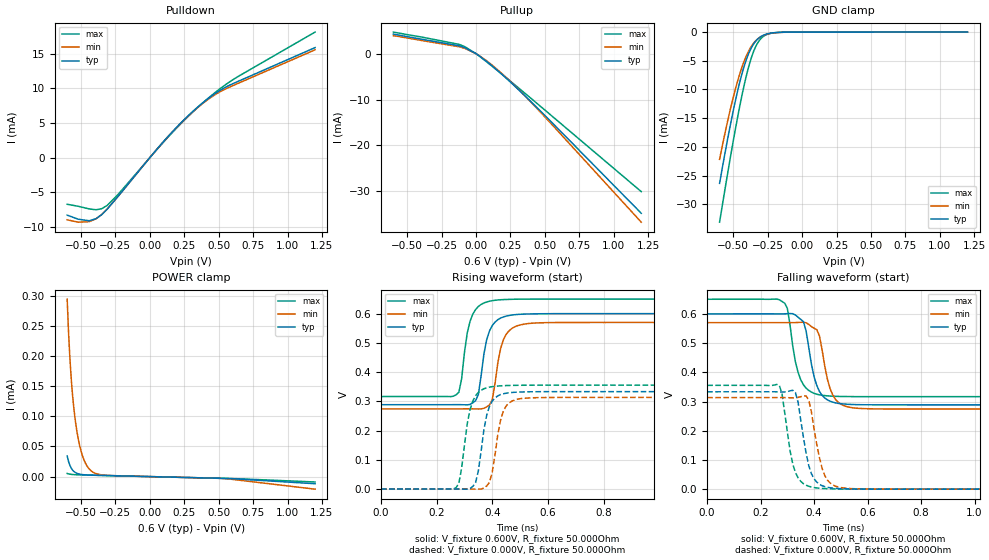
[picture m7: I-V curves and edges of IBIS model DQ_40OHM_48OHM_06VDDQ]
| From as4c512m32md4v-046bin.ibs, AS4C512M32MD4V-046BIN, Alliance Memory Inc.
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|   MODEL: DQ_40OHM_48OHM_06VDDQ
[Model]   DQ_40OHM_48OHM_06VDDQ
Model_type   I/O
Polarity   Non-Inverting
Enable   Active-High
Vinl   = 0.080V
Vinh   = 0.220V
Vmeas   = 0.150V
Vref   = 0.150V
Cref   = 0.000pF
Rref   = 50.000Ohm
|   typ   min   max
C_comp   0.875pF   0.788pF   0.963pF
[Voltage Range]   0.600V   0.570V   0.650V
[Temperature Range]   25.0   95.0   -40.0
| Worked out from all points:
|   slope of the pulldown table from 0 to 0.09 V, typ, clamps not added: 42.7 ohm
|   slope of the pullup table from 0 to 0.09 V, typ, clamps not added: 44.8 ohm
|   GND clamp passes 1 mA (typ) near -0.31 V on its own axis
|   rising waveform, V_fixture 0.600V, R_fixture 50.000Ohm: 20-80 % time 34.7ps typ, 35.2ps min, 33.4ps max; typ from 0.288 V to 0.6 V
|   falling waveform, V_fixture 0.600V, R_fixture 50.000Ohm: 20-80 % time 41.2ps typ, 41.8ps min, 40.4ps max; typ from 0.6 V to 0.289 V
|   rising waveform, V_fixture 0.000V, R_fixture 50.000Ohm: 20-80 % time 33.8ps typ, 33.9ps min, 34.6ps max; typ from 0 V to 0.333 V
|   falling waveform, V_fixture 0.000V, R_fixture 50.000Ohm: 20-80 % time 39.9ps typ, 41.1ps min, 38.7ps max; typ from 0.333 V to 0 V
[Pulldown]
|   Voltage   I(typ)   I(min)   I(max)
-600mV    -8.28mA    -8.954mA   -6.714mA
-520mV    -8.867mA   -9.297mA   -7.003mA
-440mV    -9.092mA   -9.223mA   -7.384mA
-390mV    -8.791mA   -8.797mA   -7.506mA
-350mV    -8.222mA   -8.197mA   -7.36mA
-310mV    -7.428mA   -7.411mA   -6.891mA
-230mV    -5.563mA   -5.563mA   -5.289mA
130mV     2.999mA    2.984mA    2.912mA
270mV     5.881mA    5.837mA    5.784mA
400mV     8.157mA    8.058mA    8.169mA
580mV     10.46mA    10.19mA    10.93mA
1.2V      15.87mA    15.55mA    18.11mA
[Pullup]
|   Voltage   I(typ)   I(min)   I(max)
-600mV    4.267mA    3.904mA    4.699mA
-120mV    1.7mA      1.495mA    2.011mA
-80mV     1.289mA    1.134mA    1.496mA
0V        0A         0A         0A
80mV      -1.767mA   -1.632mA   -1.852mA
220mV     -5.374mA   -5.228mA   -5.255mA
410mV     -10.79mA   -10.91mA   -10.01mA
1.2V      -34.79mA   -36.73mA   -30.07mA
[GND Clamp]
|   Voltage   I(typ)   I(min)   I(max)
-600mV    -26.36mA   -22.19mA   -33.14mA
-550mV    -19.73mA   -16.43mA   -25.84mA
-510mV    -14.79mA   -12.27mA   -20.24mA
-470mV    -10.36mA   -8.615mA   -14.96mA
-430mV    -6.627mA   -5.609mA   -10.17mA
-390mV    -3.805mA   -3.349mA   -6.151mA
-360mV    -2.341mA   -2.151mA   -3.819mA
-320mV    -1.14mA    -1.122mA   -1.755mA
-280mV    -524.1uA   -555.5uA   -715.7uA
-230mV    -184.4uA   -215.6uA   -213.3uA
-140mV    -20.29uA   -29.99uA   -17.96uA
1.2V      6.836uA    7.386uA    6.714uA
[POWER Clamp]
|   Voltage   I(typ)   I(min)   I(max)
-600mV    34.27uA    294.1uA    5.169uA
-590mV    25uA       238.9uA    4.47uA
-570mV    13.84uA    160.6uA    3.674uA
-560mV    10.58uA    132.6uA    3.444uA
-540mV    6.655uA    91.24uA    3.146uA
-520mV    4.678uA    62.84uA    2.957uA
-490mV    3.339uA    35.2uA     2.748uA
-460mV    2.772uA    19.1uA     2.569uA
-420mV    2.39uA     8.47uA     2.342uA
-300mV    1.671uA    1.938uA    1.671uA
560mV     -3.13uA    -3.595uA   -3.086uA
1.2V      -11.8uA    -20.82uA   -8.926uA
[Ramp]
R_load = 50.000Ohm
|   typ   min   max
dV/dt_r   0.187V/30.000ps   0.177V/40.000ps   0.200V/30.000ps
dV/dt_f   0.187V/40.000ps   0.177V/40.000ps   0.200V/40.000ps
|Slew_r   6.230V/ns   4.437V/ns   6.670V/ns
|Slew_f   4.671V/ns   4.435V/ns   5.001V/ns
[Rising Waveform]
V_fixture = 0.600V
V_fixture_min = 0.570V
V_fixture_max = 0.650V
R_fixture = 50.000Ohm
L_fixture = 0.000nH
C_fixture = 0.000pF
|dV/dt_r   0.187V/30.000ps   0.177V/40.000ps   0.200V/30.000ps
|Slew_r   6.230V/ns   4.437V/ns   6.670V/ns
|   Time   V(typ)   V(min)   V(max)
0s        288.5mV    274.2mV    316.5mV
270ps     288.7mV    274.2mV    322.3mV
330ps     295mV      274.3mV    598.5mV
350ps     323.5mV    273.9mV    624.7mV
380ps     511mV      281.3mV    640.2mV
400ps     559.4mV    306mV      644.5mV
430ps     585mV      481mV      647.7mV
480ps     596.5mV    554.8mV    649.4mV
590ps     599.8mV    569.2mV    650mV
5ns       600mV      570mV      650mV
[Falling Waveform]
V_fixture = 0.600V
V_fixture_min = 0.570V
V_fixture_max = 0.650V
R_fixture = 50.000Ohm
L_fixture = 0.000nH
C_fixture = 0.000pF
|dV/dt_f   0.187V/40.000ps   0.177V/40.000ps   0.200V/40.000ps
|Slew_f   4.671V/ns   4.435V/ns   5.001V/ns
|   Time   V(typ)   V(min)   V(max)
0s        599.9mV    569.9mV    649.9mV
290ps     600.1mV    569.9mV    636.4mV
300ps     600.7mV    569.8mV    618.5mV
330ps     596.1mV    570.1mV    436.3mV
360ps     573.3mV    571.2mV    357.3mV
410ps     354.7mV    545.9mV    325mV
450ps     305.5mV    375.3mV    319.3mV
500ps     292.4mV    290.6mV    317.2mV
610ps     288.8mV    275mV      316.6mV
5ns       288.5mV    274.3mV    316.5mV
[Rising Waveform]
V_fixture = 0.000V
V_fixture_min = 0.000V
V_fixture_max = 0.000V
R_fixture = 50.000Ohm
L_fixture = 0.000nH
C_fixture = 0.000pF
|dV/dt_r   0.200V/30.000ps   0.188V/30.000ps   0.213V/40.000ps
|Slew_r   6.665V/ns   6.268V/ns   5.331V/ns
|   Time   V(typ)   V(min)   V(max)
0s        4.341uV    12.86uV    1.859uV
270ps     110.1uV    12.69uV    4.923mV
280ps     49.73uV    16.63uV    19.97mV
330ps     8.98mV     -179.4uV   301.2mV
350ps     62.11mV    -505.9uV   330.7mV
390ps     283.3mV    23.06mV    348.7mV
430ps     323.2mV    236.7mV    353.1mV
470ps     330.3mV    300.6mV    354.6mV
570ps     333mV      312.7mV    355.3mV
5ns       333.3mV    313.4mV    355.4mV
[Falling Waveform]
V_fixture = 0.000V
V_fixture_min = 0.000V
V_fixture_max = 0.000V
R_fixture = 50.000Ohm
L_fixture = 0.000nH
C_fixture = 0.000pF
|dV/dt_f   0.200V/40.000ps   0.188V/40.000ps   0.213V/40.000ps
|Slew_f   4.998V/ns   4.700V/ns   5.331V/ns
|   Time   V(typ)   V(min)   V(max)
0s        333.2mV    313.4mV    355.4mV
270ps     332.8mV    313.5mV    355mV
280ps     332.5mV    313.5mV    325.9mV
320ps     338.4mV    312.6mV    86.35mV
340ps     297.5mV    314mV      38.72mV
380ps     80.6mV     304.7mV    9.902mV
420ps     16.69mV    107.5mV    3.146mV
460ps     4.814mV    20.86mV    1.251mV
560ps     444.8uV    1.205mV    103.3uV
5ns       4.824uV    13.31uV    2.363uV
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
